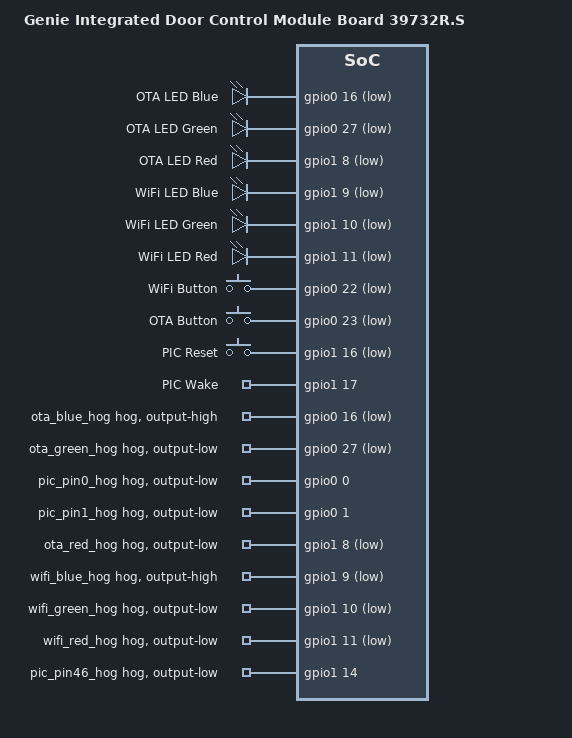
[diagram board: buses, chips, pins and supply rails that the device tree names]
/dts-v1/;
#include "marvell_mw302_88mw320_cpu0.dts"
#include <zephyr/dt-bindings/gpio/gpio.h>

/ {
	model = "Genie Integrated Door Control Module Board 39732R.S";
	compatible = "marvell,mw302", "nxp,88mw320";

	chosen {
		zephyr,sram = &sram0;
		zephyr,flash = &flash0;
		zephyr,code-partition = &slot0_partition;
		zephyr,console = &uart0;
		zephyr,shell-uart = &uart0;
		zephyr,entropy = &entropy_mw320;
	};

	aliases {
		pic-uart = &uart1;
		pic-rst = &pic_rst;
		pic-wake = &pic_wake;
	};

	leds {
		compatible = "gpio-leds";

		led_ota_blue: led_ota_blue {
			gpios = <&gpio0 16 1>;
			label = "OTA LED Blue";
		};

		led_ota_green: led_ota_green {
			gpios = <&gpio0 27 1>;
			label = "OTA LED Green";
		};

		led_ota_red: led_ota_red {
			gpios = <&gpio1 8 1>;
			label = "OTA LED Red";
		};

		led_wifi_blue: led_wifi_blue {
			gpios = <&gpio1 9 1>;
			label = "WiFi LED Blue";
		};

		led_wifi_green: led_wifi_green {
			gpios = <&gpio1 10 1>;
			label = "WiFi LED Green";
		};

		led_wifi_red: led_wifi_red {
			gpios = <&gpio1 11 1>;
			label = "WiFi LED Red";
		};
	};

	buttons {
		compatible = "gpio-keys";

		sw_wifi: sw_wifi {
			label = "WiFi Button";
			gpios = <&gpio0 22 1>;
		};

		sw_ota: sw_ota {
			label = "OTA Button";
			gpios = <&gpio0 23 1>;
		};

		pic_rst: pic_rst {
			label = "PIC Reset";
			gpios = <&gpio1 16 GPIO_ACTIVE_LOW>;
		};

		pic_wake: pic_wake {
			label = "PIC Wake";
			gpios = <&gpio1 17 GPIO_ACTIVE_HIGH>;
		};
	};
};



&gpio_default {
	group1 {
		pinmux = <MW320_PINMUX(16, 0)>, /* LED OTA BLUE */
		         <MW320_PINMUX(27, 0)>, /* LED OTA GREEN */
		         <MW320_PINMUX(40, 0)>, /* LED OTA RED */
		         <MW320_PINMUX(41, 0)>, /* LED WIFI BLUE */
		         <MW320_PINMUX(42, 0)>, /* LED WIFI GREEN */
		         <MW320_PINMUX(43, 0)>, /* LED WIFI RED */
		         <MW320_PINMUX(22, 1)>, /* SW WIFI */
		         <MW320_PINMUX(23, 1)>, /* SW OTA */
		         <MW320_PINMUX(0, 0)>,  /* GPIO0 */
		         <MW320_PINMUX(1, 0)>,  /* GPIO1 */
		         <MW320_PINMUX(46, 0)>, /* GPIO46 */
		         <MW320_PINMUX(48, 0)>, /* GPIO48 */
		         <MW320_PINMUX(49, 0)>; /* GPIO49 */
	};
};

&gpio0 {
	ota_blue_hog {
		gpio-hog;
		gpios = <16 GPIO_ACTIVE_LOW>;
		output-high;
	};
	
	ota_green_hog {
		gpio-hog;
		gpios = <27 GPIO_ACTIVE_LOW>;
		output-low;
	};

	pic_pin0_hog {
		gpio-hog;
		gpios = <0 GPIO_ACTIVE_HIGH>;
		output-low;
	};

	pic_pin1_hog {
		gpio-hog;
		gpios = <1 GPIO_ACTIVE_HIGH>;
		output-low;
	};
};

&gpio1 {
	ota_red_hog {
		gpio-hog;
		gpios = <8 GPIO_ACTIVE_LOW>;
		output-low;
	};

	wifi_blue_hog {
		gpio-hog;
		gpios = <9 GPIO_ACTIVE_LOW>;
		output-high;
	};

	wifi_green_hog {
		gpio-hog;
		gpios = <10 GPIO_ACTIVE_LOW>;
		output-low;
	};

	wifi_red_hog {
		gpio-hog;
		gpios = <11 GPIO_ACTIVE_LOW>;
		output-low;
	};

	pic_pin46_hog {
		gpio-hog;
		gpios = <14 GPIO_ACTIVE_HIGH>;
		output-low;
	};
};
